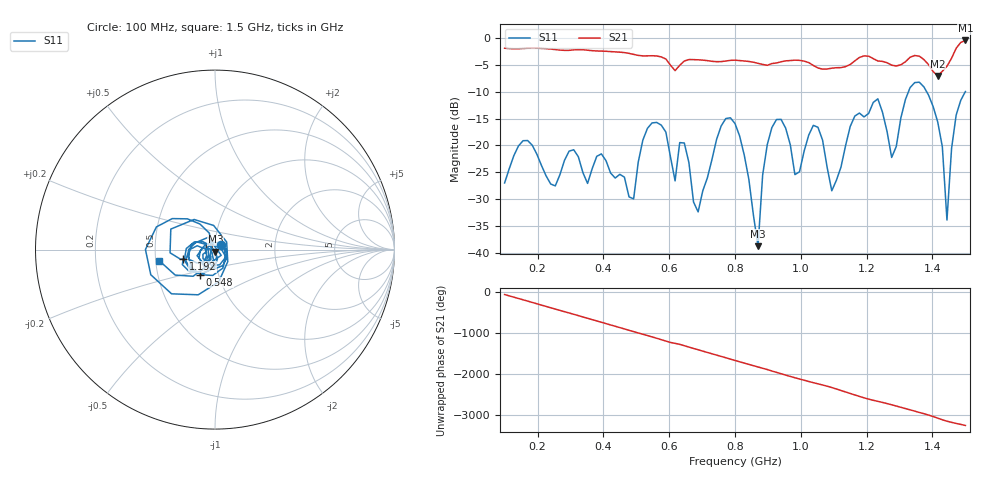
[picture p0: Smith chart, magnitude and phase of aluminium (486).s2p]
! NanoVNA-App
! Date: 2025-09-25 14:59:04
! Start: 100MHz Stop: 1,5GHz Points: 101
! S-Parameter data: F S11 S21 S12 S22
# Hz S RI R 50
!  Frequency  S11_Real  S11_Imag  S21_Real  S21_Imag  S12_Real  S12_Imag  S22_Real  S22_Imag
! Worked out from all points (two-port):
!   101 points, 100 MHz to 1.5 GHz, reference 50 ohm
!   highest |S21| = -0.48 dB at 1.5 GHz (marker M1); lowest = -7.1 dB at 1.416 GHz (marker M2)
!   |S21| within 3 dB of the highest: start of sweep to 571.3 MHz; 1.46 GHz to end of sweep (the widest 2 of 4)
!   lowest |S11| = -38.7 dB at 870 MHz (marker M3), VSWR 1.02, Z = 50.2 - j1.14 ohm
!   |S11| at or under -10 dB: start of sweep to 1.327 GHz; 1.382 GHz to 1.5 GHz (117.6 MHz wide, 8.16 % of centre)
!   S12 and S22 are empty: the file has one direction only
!   S11 on the Smith chart (normalised r, x): 100 MHz: 1.07, +0.06; 548 MHz: 0.82, -0.23; 1.192 GHz: 0.70, -0.07; 1.5 GHz: 0.52, -0.07
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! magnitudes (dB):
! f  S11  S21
! 100 MHz  -27.0  -1.9
! 156 MHz  -19.1  -2.0
! 338 MHz  -25.1  -2.2
! 492 MHz  -29.9  -3.1
! 548 MHz  -15.8  -3.3
! 576 MHz  -16.2  -3.5
! 646 MHz  -19.5  -4.3
! 688 MHz  -32.3  -4.1
! 800 MHz  -15.9  -4.1
! 870 MHz  -38.7  -4.7
! 912 MHz  -16.7  -4.8
! 982 MHz  -25.4  -4.1
! 1.038 GHz  -16.3  -5.1
! 1.094 GHz  -28.4  -5.6
! 1.192 GHz  -14.7  -3.3
! 1.234 GHz  -11.3  -4.3
! 1.276 GHz  -22.2  -5.1
! 1.346 GHz  -8.3  -3.3
! 1.416 GHz  -15.6  -7.1
! 1.444 GHz  -33.9  -5.3
! 1.472 GHz  -14.3  -1.9
! 1.5 GHz  -10.0  -0.5
